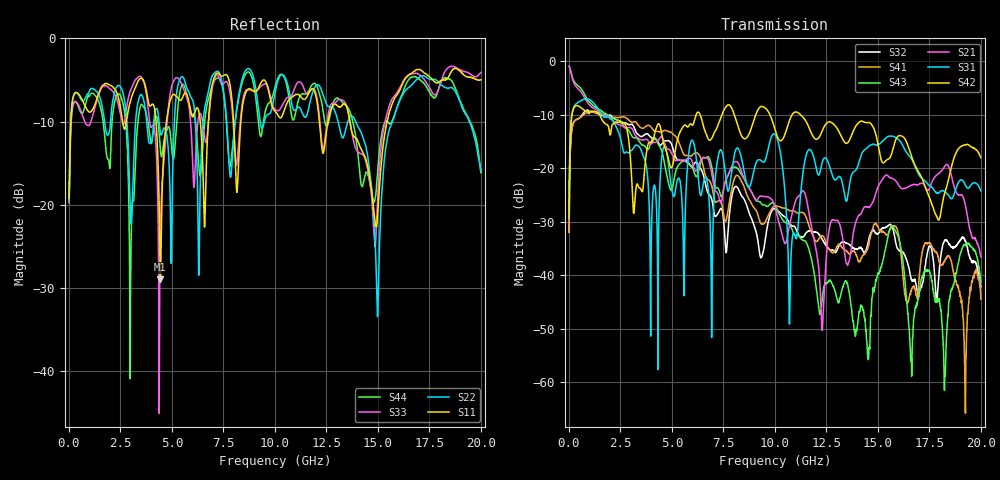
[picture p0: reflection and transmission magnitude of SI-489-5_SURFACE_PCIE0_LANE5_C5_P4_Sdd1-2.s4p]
! S11 = S11
! S12 = S12
! S13 = S13
! S14 = S14
! S21 = S21
! S22 = S22
! S23 = S23
! S24 = S24
! S31 = S31
! S32 = S32
! S33 = S33
! S34 = S34
! S41 = S41
! S42 = S42
! S43 = S43
! S44 = S44
! FILE: E:\Projects\06_2015\060415_VNA_EOS_MUX_EVAL\SI-489-3_EOS_MUX_EVAL_A0_B0_SEL=0.s4p
!$DUT_CFG_DESC: Default 4-Port Configuration
!$NUMBER_PORTS: 4
!$DIFF_PORT_MAP: 1|2P|2|2P|0|UC|0|UC|
!$PORT_MAP: 1|1|<<<<<<|2|2|>>>>>>|3|3|<<<<<<|4|4|>>>>>>|
# MHz S RI R 50.00
! FREQ  S11  S12  S13  S14
!  S21  S22  S23  S24
!  S31  S32  S33  S34
!  S41  S42  S43  S44
!  REAL  IMAG  REAL  IMAG  REAL  IMAG  REAL  IMAG
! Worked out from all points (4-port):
!   2000 points, 10 MHz to 20 GHz, reference 50 ohm
!   strongest paths, dB at 10 MHz, 5.01 GHz, 10.01 GHz, 15.01 GHz, 20 GHz:
!     S42: -29.3, -19.7, -12.8, -15.5, -18.0
!     S31: -29.3, -24.3, -13.7, -15.6, -24.2
!     S21: -1.0, -17.4, -27.3, -23.4, -36.5
!     S43: -0.9, -23.8, -26.9, -39.6, -41.2
!     S41: -31.9, -13.4, -27.0, -31.0, -44.5
!     S32: -32.0, -15.8, -27.6, -32.2, -42.0
!   lowest |S11| = -29.0 dB at 4.44 GHz (marker M1), VSWR 1.07, Z = 51.7 - j3.17 ohm
!   |S11| at or under -10 dB: 4.227 GHz to 4.733 GHz (506.4 MHz wide, 11.3 % of centre); 12.16 GHz to 12.57 GHz (411.9 MHz wide, 3.33 % of centre); 13.64 GHz to 15.44 GHz (1.803 GHz wide, 12.4 % of centre)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
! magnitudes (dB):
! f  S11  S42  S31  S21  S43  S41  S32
! 10 MHz  -19.3  -29.3  -29.3  -1.0  -0.9  -31.9  -32.0
! 4.44 GHz  -29.0  -12.3  -21.2  -14.2  -16.2  -13.3  -15.7
! 9.99 GHz  -8.7  -12.6  -13.6  -27.0  -26.8  -27.0  -27.5
! 10.73 GHz  -7.3  -10.8  -44.4  -30.3  -30.6  -27.9  -30.3
! 12.3 GHz  -13.5  -13.0  -18.9  -50.3  -44.3  -32.6  -33.3
! 14.52 GHz  -15.5  -11.4  -16.0  -27.3  -55.4  -34.8  -33.9
! 20 GHz  -5.0  -18.0  -24.2  -36.5  -41.2  -44.5  -42.0
